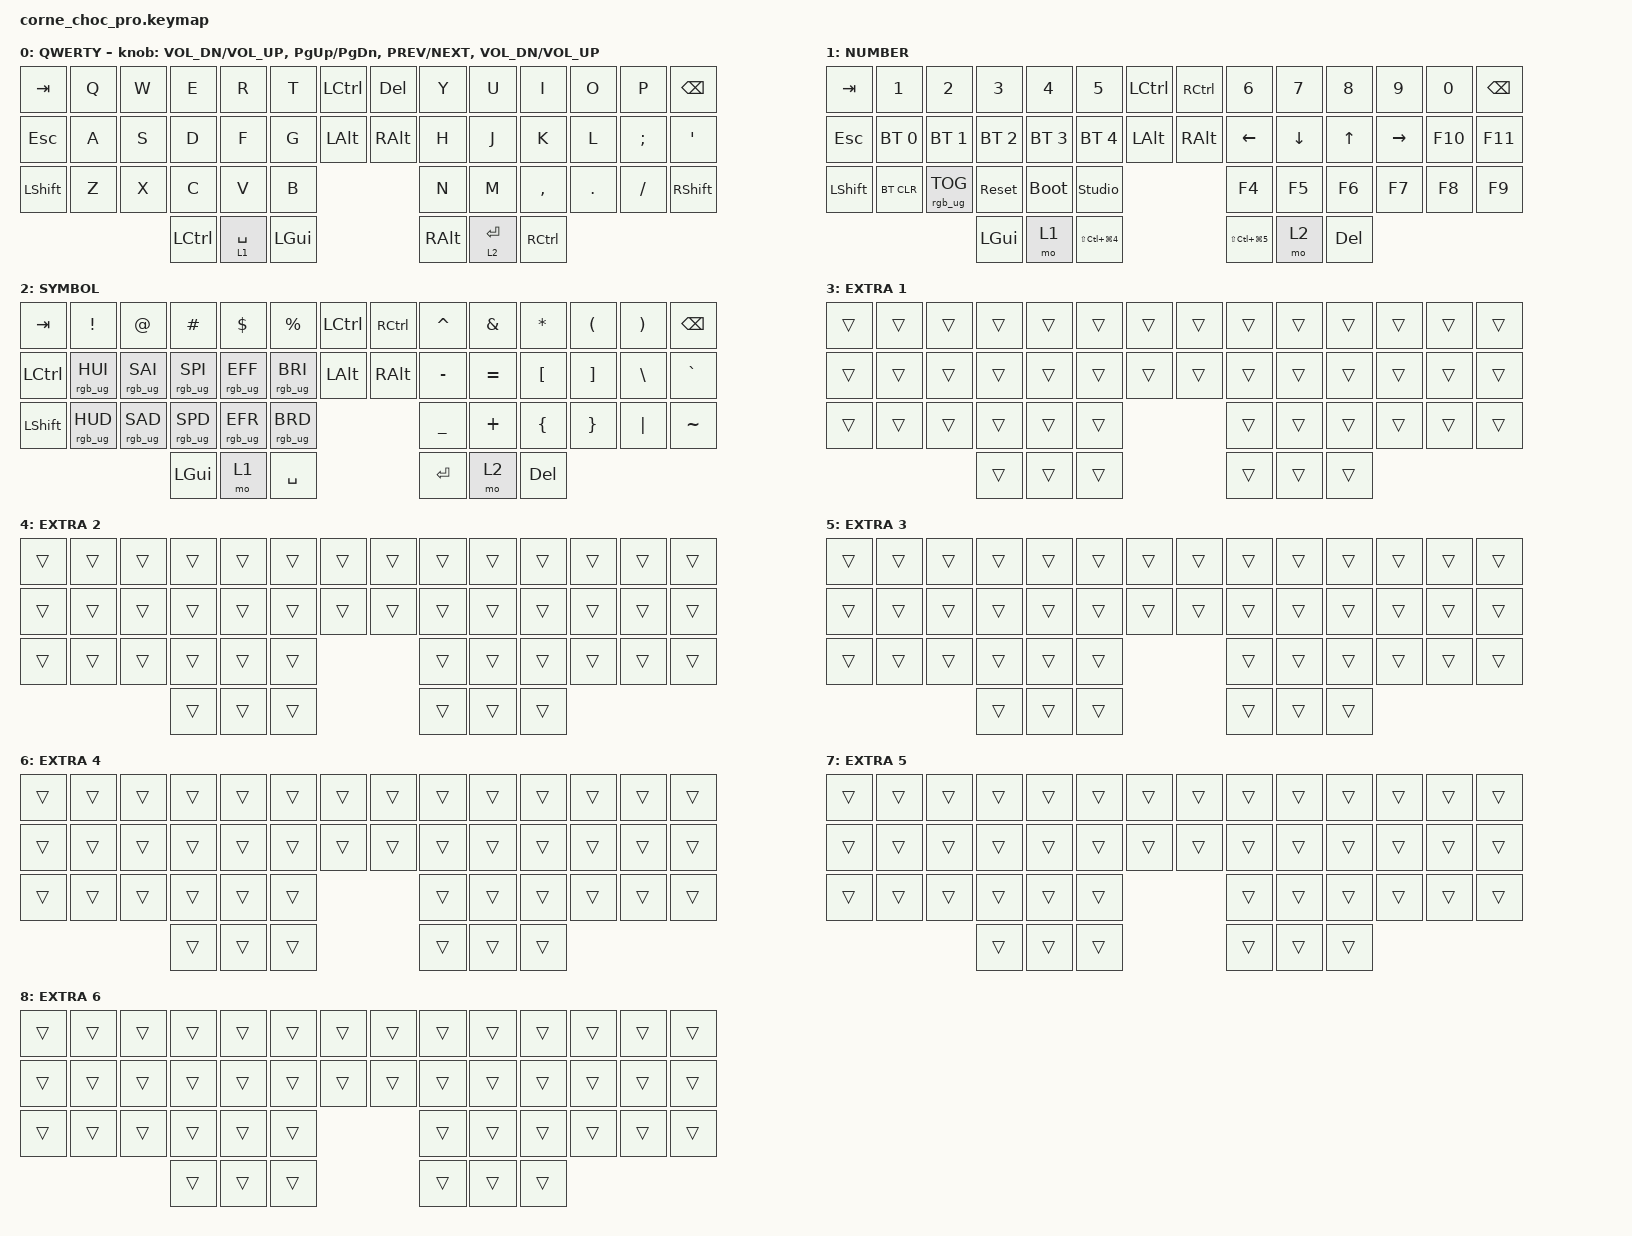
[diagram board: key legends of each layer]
/*
 * Copyright (c) 2020 The ZMK Contributors
 *
 * SPDX-License-Identifier: MIT
 */

#include <dt-bindings/zmk/mouse.h>
#include <behaviors.dtsi>
#include <dt-bindings/zmk/bt.h>
#include <dt-bindings/zmk/keys.h>
#include <dt-bindings/zmk/rgb.h>

&lt {
    flavor = "balanced";
    tapping-term-ms = <200>;
    require-prior-idle-ms = <125>;
    quick-tap-ms = <125>;
};

/ {
    chosen { zmk,physical-layout = &default_layout; };
};

/ {
    behaviors {
        hml: homerow_mods_left {
            compatible = "zmk,behavior-hold-tap";
            #binding-cells = <2>;
            flavor = "balanced";
            tapping-term-ms = <280>;
            quick-tap-ms = <175>;
            require-prior-idle-ms = <150>;
            bindings = <&kp>, <&kp>;
            hold-trigger-key-positions = <
                7  8  9  10 11 12 13
                21 22 23 24 25 26 27
                34 35 36 37 38 39
                   37 38 39
            >;
            hold-trigger-on-release;
        };

        hmr: homerow_mods_right {
            compatible = "zmk,behavior-hold-tap";
            #binding-cells = <2>;
            flavor = "balanced";
            tapping-term-ms = <280>;
            quick-tap-ms = <175>;
            require-prior-idle-ms = <150>;
            bindings = <&kp>, <&kp>;
            hold-trigger-key-positions = <
                0  1  2  3  4  5  6
                14 15 16 17 18 19 20
                28 29 30 31 32 33
                   34 35 36
            >;
            hold-trigger-on-release;
        };
    };

    keymap {
        compatible = "zmk,keymap";

        default_layer {
            display-name = "QWERTY";

            // --------------------------------------------------------------------------------
            // |  TAB |  Q  |  W  |  E  |  R  |  T  |  MUTE |  PP   |  Y  |  U   |  I  |  O  |  P  | BSPC |
            // | CTRL |  A  |  S  |  D  |  F  |  G  |  LALT |  RALT |  H  |  J   |  K  |  L  |  ;  |  '   |
            // | SHFT |  Z  |  X  |  C  |  V  |  B  |               |  N  |  M   |  ,  |  .  |  /  | ESC  |
            //                    | GUI | LWR | SPC |               | ENT | RSE  | ALT |

            bindings = <
&kp TAB     &kp Q  &kp W  &kp E      &kp R        &kp T         &kp LCTRL  &kp DELETE  &kp Y          &kp U        &kp I      &kp O    &kp P     &kp BSPC
&kp ESCAPE  &kp A  &kp S  &kp D      &kp F        &kp G         &kp LALT   &kp RALT    &kp H          &kp J        &kp K      &kp L    &kp SEMI  &kp SQT
&kp LSHFT   &kp Z  &kp X  &kp C      &kp V        &kp B                                &kp N          &kp M        &kp COMMA  &kp DOT  &kp FSLH  &kp RSHIFT
                          &kp LCTRL  &lt 1 SPACE  &kp LEFT_GUI                         &kp RIGHT_ALT  &lt 2 ENTER  &kp RCTRL
            >;

            sensor-bindings = <&inc_dec_kp C_VOL_DN C_VOL_UP &inc_dec_kp PG_UP PG_DN &inc_dec_kp C_PREV C_NEXT &inc_dec_kp C_VOL_DN C_VOL_UP>;
        };

        lower_layer {
            display-name = "NUMBER";

            // -----------------------------------------------------------------------------------------
            // |  TAB |  1  |  2  |  3  |  4  |  5    |  LCTRL | RCTRL |  6  |  7  |  8  |  9  |  0  | BSPC |
            // | CTRL | BT1 | BT2 | BT3 | BT4 | BT5   |  LALT  | RALT  | LFT | DWN |  UP | RGT |     |      |
            // | SHFT | BTCR| RGB | RST | BOOT| Unlock|        |       |     |     |     |     |     |      |
            //                    | GUI |     | SPC   |        | ENT   |     | ALT |

            bindings = <
&kp TAB     &kp N1        &kp N2           &kp N3        &kp N4        &kp N5                    &kp LCTRL  &kp RCTRL  &kp N6                    &kp N7    &kp N8      &kp N9     &kp N0   &kp BSPC
&kp ESCAPE  &bt BT_SEL 0  &bt BT_SEL 1     &bt BT_SEL 2  &bt BT_SEL 3  &bt BT_SEL 4              &kp LALT   &kp RALT   &kp LEFT                  &kp DOWN  &kp UP      &kp RIGHT  &kp F10  &kp F11
&kp LSHFT   &bt BT_CLR    &rgb_ug RGB_TOG  &sys_reset    &bootloader   &studio_unlock                                  &kp F4                    &kp F5    &kp F6      &kp F7     &kp F8   &kp F9
                                           &kp LGUI      &mo 1         &kp LS(LC(LG(NUMBER_4)))                        &kp LS(LC(LG(NUMBER_5)))  &mo 2     &kp DELETE
            >;
        };

        raise_layer {
            display-name = "SYMBOL";

            // -----------------------------------------------------------------------------------------
            // |  TAB |  !  |  @  |  #  |  $  |  %  | LCTRL | RCTRL |  ^  |  &  |  *  |  (  |  )  | BSPC |
            // | CTRL | HUD | HUI |     |     |     |  LALT | RALT  |  -  |  =  |  [  |  ]  |  \  |  `   |
            // | SHFT |     |     |     |     |     |               |  _  |  +  |  {  |  }  | "|" |  ~   |
            //                    | GUI |     | SPC |               | ENT |     | ALT |

            bindings = <
&kp TAB    &kp EXCL         &kp AT           &kp HASH         &kp DLLR         &kp PRCNT        &kp LCTRL  &kp RCTRL  &kp CARET  &kp AMPS   &kp ASTRK   &kp LPAR  &kp RPAR  &kp BSPC
&kp LCTRL  &rgb_ug RGB_HUI  &rgb_ug RGB_SAI  &rgb_ug RGB_SPI  &rgb_ug RGB_EFF  &rgb_ug RGB_BRI  &kp LALT   &kp RALT   &kp MINUS  &kp EQUAL  &kp LBKT    &kp RBKT  &kp BSLH  &kp GRAVE
&kp LSHFT  &rgb_ug RGB_HUD  &rgb_ug RGB_SAD  &rgb_ug RGB_SPD  &rgb_ug RGB_EFR  &rgb_ug RGB_BRD                        &kp UNDER  &kp PLUS   &kp LBRC    &kp RBRC  &kp PIPE  &kp TILDE
                                             &kp LGUI         &mo 1            &kp SPACE                              &kp ENTER  &mo 2      &kp DELETE
            >;
        };

        extra_layer_1 {
            display-name = "EXTRA 1";
            bindings = <
&trans  &trans  &trans  &trans  &trans  &trans  &trans  &trans  &trans  &trans  &trans  &trans  &trans  &trans
&trans  &trans  &trans  &trans  &trans  &trans  &trans  &trans  &trans  &trans  &trans  &trans  &trans  &trans
&trans  &trans  &trans  &trans  &trans  &trans                  &trans  &trans  &trans  &trans  &trans  &trans
                        &trans  &trans  &trans                  &trans  &trans  &trans
            >;
        };

        extra_layer_2 {
            display-name = "EXTRA 2";
            bindings = <
&trans  &trans  &trans  &trans  &trans  &trans  &trans  &trans  &trans  &trans  &trans  &trans  &trans  &trans
&trans  &trans  &trans  &trans  &trans  &trans  &trans  &trans  &trans  &trans  &trans  &trans  &trans  &trans
&trans  &trans  &trans  &trans  &trans  &trans                  &trans  &trans  &trans  &trans  &trans  &trans
                        &trans  &trans  &trans                  &trans  &trans  &trans
            >;
        };

        extra_layer_3 {
            display-name = "EXTRA 3";
            bindings = <
&trans  &trans  &trans  &trans  &trans  &trans  &trans  &trans  &trans  &trans  &trans  &trans  &trans  &trans
&trans  &trans  &trans  &trans  &trans  &trans  &trans  &trans  &trans  &trans  &trans  &trans  &trans  &trans
&trans  &trans  &trans  &trans  &trans  &trans                  &trans  &trans  &trans  &trans  &trans  &trans
                        &trans  &trans  &trans                  &trans  &trans  &trans
            >;
        };

        extra_layer_4 {
            display-name = "EXTRA 4";
            bindings = <
&trans  &trans  &trans  &trans  &trans  &trans  &trans  &trans  &trans  &trans  &trans  &trans  &trans  &trans
&trans  &trans  &trans  &trans  &trans  &trans  &trans  &trans  &trans  &trans  &trans  &trans  &trans  &trans
&trans  &trans  &trans  &trans  &trans  &trans                  &trans  &trans  &trans  &trans  &trans  &trans
                        &trans  &trans  &trans                  &trans  &trans  &trans
            >;
        };

        extra_layer_5 {
            display-name = "EXTRA 5";
            bindings = <
&trans  &trans  &trans  &trans  &trans  &trans  &trans  &trans  &trans  &trans  &trans  &trans  &trans  &trans
&trans  &trans  &trans  &trans  &trans  &trans  &trans  &trans  &trans  &trans  &trans  &trans  &trans  &trans
&trans  &trans  &trans  &trans  &trans  &trans                  &trans  &trans  &trans  &trans  &trans  &trans
                        &trans  &trans  &trans                  &trans  &trans  &trans
            >;
        };

        extra_layer_6 {
            display-name = "EXTRA 6";
            bindings = <
&trans  &trans  &trans  &trans  &trans  &trans  &trans  &trans  &trans  &trans  &trans  &trans  &trans  &trans
&trans  &trans  &trans  &trans  &trans  &trans  &trans  &trans  &trans  &trans  &trans  &trans  &trans  &trans
&trans  &trans  &trans  &trans  &trans  &trans                  &trans  &trans  &trans  &trans  &trans  &trans
                        &trans  &trans  &trans                  &trans  &trans  &trans
            >;
        };
    };
};
